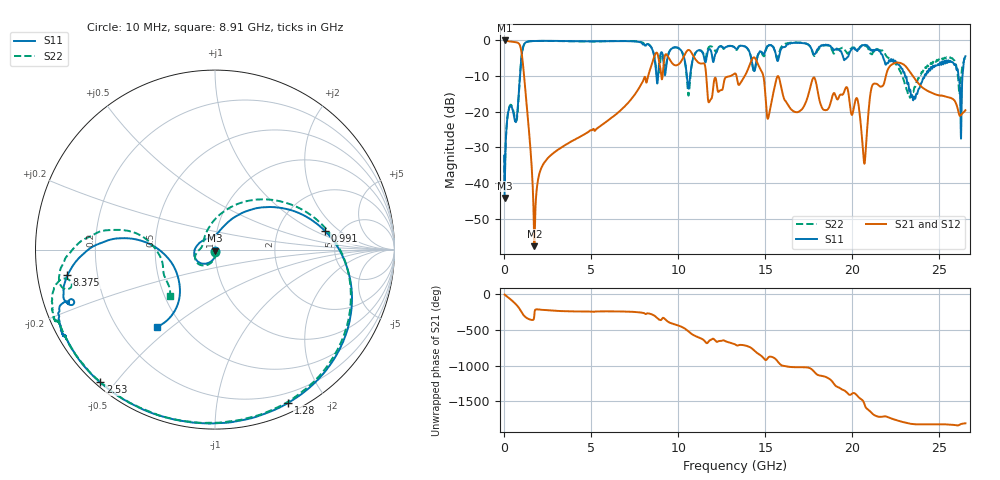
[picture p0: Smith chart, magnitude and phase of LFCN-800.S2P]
!Created: 10-09-2013 at 10:19:59
!Mini-Circuits
!S2P DATA File Format
!Type: LOW PASS FILTER
!MODEL: LFCN-800+
!S/N: Unit 1
!PIN OUT: PORT 1 - PIN 1, PORT 2 - PIN 3, GROUND - PIN 2,4
!TEST CONDITIONS: Z:50 OHM SYSTEM, INPUT POWER = -10dBm
!PROD RUN: MN10030 DATE CODE: 1234
!REMARK: UNITS MOUNTED ON TB-270 RUN#MN43610 D/C 1336. PORT EXTENSION HAS BEEN DONE.
!TESTED ON: NETWORK ANALYZER MODEL AG N5242A S/N 71932 CAL DUE DATE 3/15/14
# MHZ S DB R 50
!Frequency  S11 dB  S11 DEG  S21 dB  S21 DEG  S12 dB  S12 DEG  S22 dB  S22 DEG
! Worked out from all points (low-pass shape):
!   4441 points, 10 MHz to 26.5 GHz, reference 50 ohm
!   highest |S21| = -0.08 dB at 10 MHz (marker M1); lowest = -57.6 dB at 1.72 GHz (marker M2)
!   |S21| within 3 dB of the highest: start of sweep to 971.3 MHz; 10.48 GHz to 10.7 GHz (212.3 MHz wide, 2 % of centre)
!   lowest |S11| = -44.1 dB at 10 MHz (marker M3), VSWR 1.01, Z = 49.8 - j0.596 ohm
!   |S11| at or under -10 dB: start of sweep to 886 MHz; 23.03 GHz to 24.15 GHz (1.127 GHz wide, 4.78 % of centre); 26.1 GHz to 26.33 GHz (230.6 MHz wide, 0.88 % of centre)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
!   |S22| runs from -41.4 to -0.2 dB; largest |S21 - S12| = 0.0096
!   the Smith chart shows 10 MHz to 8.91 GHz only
!   S11 on the Smith chart (normalised r, x): 10 MHz: 1.00, -0.01; 991 MHz: 3.81, +1.29; 1.28 GHz: 0.10, -1.58; 2.53 GHz: 0.01, -0.46; 8.375 GHz: 0.09, -0.09; 8.91 GHz: 0.37, -0.45
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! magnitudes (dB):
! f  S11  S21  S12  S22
! 10 MHz  -44.1  -0.1  -0.1  -37.2
! 179 MHz  -21.3  -0.3  -0.2  -21.1
! 713 MHz  -21.6  -0.6  -0.6  -22.2
! 991 MHz  -4.1  -3.7  -3.7  -4.4
! 1.28 GHz  -0.5  -18.1  -18.1  -0.5
! 1.72 GHz  -0.2  -57.6  -57.6  -0.2
! 2.53 GHz  -0.2  -32.8  -32.8  -0.2
! 4.425 GHz  -0.3  -26.8  -26.8  -0.4
! 8.375 GHz  -1.6  -8.1  -8.1  -1.5
! 8.84 GHz  -9.4  -4.5  -4.5  -10.0
! 8.91 GHz  -5.4  -6.4  -6.3  -8.9
! 13.26 GHz  -2.2  -9.3  -9.3  -2.2
! 14.4 GHz  -8.1  -5.0  -4.9  -8.3
! 15.19 GHz  -1.4  -21.3  -21.2  -1.5
! 16.76 GHz  -0.7  -20.2  -20.2  -0.7
! 17.67 GHz  -2.6  -11.6  -11.5  -2.8
! 19.63 GHz  -5.2  -13.2  -13.2  -3.2
! 20.68 GHz  -1.4  -34.4  -34.4  -1.5
! 21.18 GHz  -3.0  -12.4  -12.3  -3.5
! 22.09 GHz  -5.9  -7.8  -7.7  -5.1
! 23.33 GHz  -13.9  -9.0  -9.0  -16.1
! 26.5 GHz  -4.5  -19.6  -19.8  -5.1
